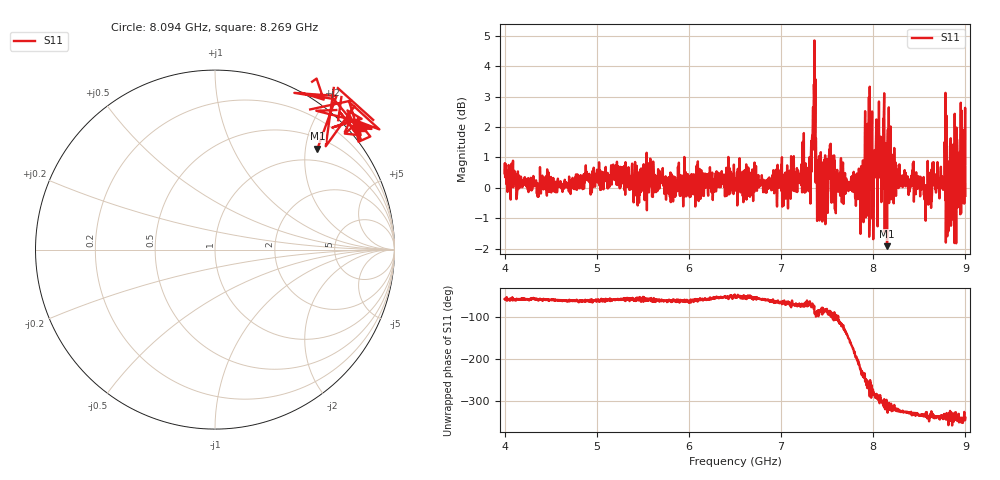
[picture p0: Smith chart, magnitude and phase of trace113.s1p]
! Created with skrf 1.8.0 (http://scikit-rf.org).
# Hz S RI R 50.0
!freq ReS11 ImS11
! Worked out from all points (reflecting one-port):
!   1601 points, 4 GHz to 9 GHz, reference 50 ohm
!   lowest |S11| = -1.9 dB at 8.15 GHz (marker M1), VSWR 9.09, Z = 35.7 + j112 ohm
!   phase of S11 starts at -57 deg and turns -282 deg over the sweep
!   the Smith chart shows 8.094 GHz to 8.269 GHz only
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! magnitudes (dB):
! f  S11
! 4 GHz  0.5
! 4.15 GHz  0.4
! 4.625 GHz  -0.1
! 5.25 GHz  0.0
! 5.875 GHz  -0.1
! 6.5 GHz  0.3
! 7.125 GHz  0.5
! 7.294 GHz  0.4
! 7.319 GHz  -0.5
! 7.347 GHz  2.7
! 7.362 GHz  4.8
! 7.4 GHz  0.6
! 7.428 GHz  0.3
! 7.512 GHz  0.6
! 7.569 GHz  -0.4
! 7.75 GHz  0.0
! 7.881 GHz  0.3
! 7.928 GHz  1.2
! 7.962 GHz  3.3
! 7.981 GHz  0.3
! 8.097 GHz  0.7
! 8.15 GHz  -1.9
! 8.178 GHz  1.6
! 8.197 GHz  0.6
! 8.375 GHz  0.3
! 8.869 GHz  -1.1
! 8.972 GHz  0.7
! 9 GHz  -0.3
